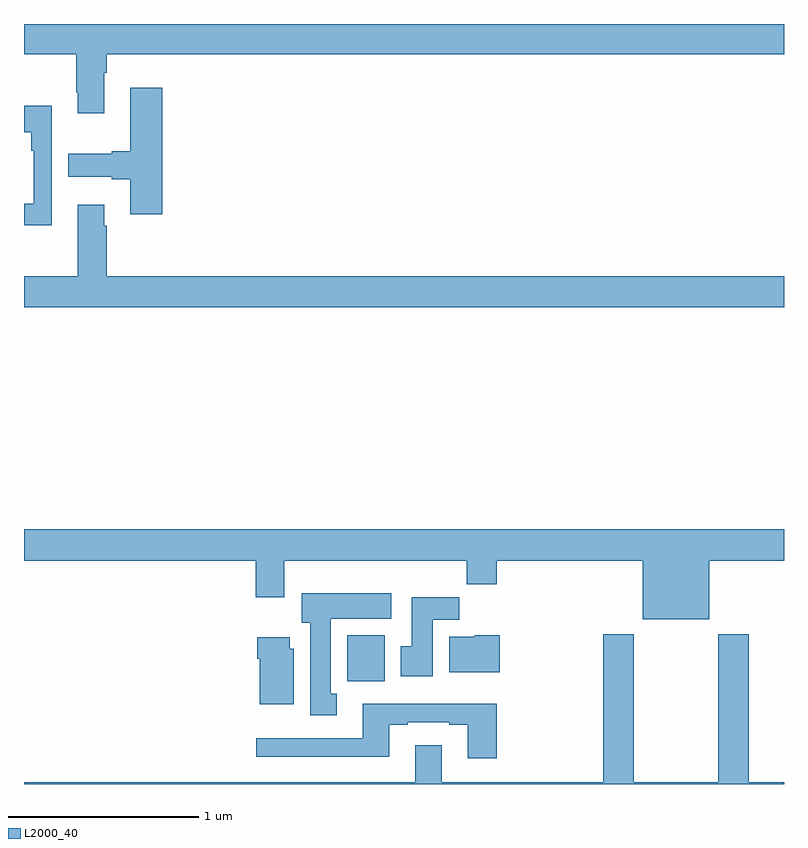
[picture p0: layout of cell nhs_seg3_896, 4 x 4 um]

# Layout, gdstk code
import gdstk
lib = gdstk.Library(unit=1e-6, precision=1e-09)
def R(c, l, rs):  # rectangles x0, y0, x1, y1
    for r in rs: c.add(gdstk.rectangle(r[:2], r[2:], *l))
def P(c, l, *ps):  # polygons
    for p in ps: c.add(gdstk.Polygon(p, *l))
L2000_40 = (2000, 40)

nhs_seg3_896 = lib.new_cell('nhs_seg3_896')
R(nhs_seg3_896, L2000_40, [(158.702,706.94,158.899,707.182)])
P(nhs_seg3_896, L2000_40, [(157.423,710.144),(157.436,710.144),(157.436,710.24),(161,710.24),(161,710.4),(157,710.4),(157,710.24),(157.276,710.24),(157.276,710.041),(157.283,710.041),(157.283,709.929),(157.423,709.929)],
  [(157.727,710.065),(157.559,710.065),(157.559,709.73),(157.463,709.73),(157.463,709.717),(157.233,709.717),(157.233,709.595),(157.463,709.595),(157.463,709.583),(157.559,709.583),(157.559,709.398),(157.727,709.398)],
  [(157.146,709.969),(157,709.969),(157,709.829),(157.038,709.829),(157.038,709.733),(157.05,709.733),(157.05,709.454),(157,709.454),(157,709.341),(157.146,709.341)],
  [(161,709.072),(157.436,709.072),(157.436,709.337),(157.423,709.337),(157.423,709.45),(157.283,709.45),(157.283,709.072),(157,709.072),(157,708.908),(161,708.908)],
  [(160.606,707.576),(161,707.576),(161,707.74),(157,707.74),(157,707.576),(158.219,707.576),(158.219,707.382),(158.371,707.382),(158.371,707.576),(159.331,707.576),(159.331,707.452),(159.488,707.452),(159.488,707.576),(160.256,707.576),(160.256,707.267),(160.606,707.267)],
  [(158.647,706.874),(158.614,706.874),(158.614,707.27),(158.932,707.27),(158.932,707.404),(158.462,707.404),(158.462,707.25),(158.507,707.25),(158.507,706.761),(158.647,706.761)],
  [(159.151,707.264),(159.29,707.264),(159.29,707.383),(159.041,707.383),(159.041,707.124),(158.984,707.124),(158.984,706.968),(159.151,706.968)],
  [(161,706.408),(160.814,706.408),(160.814,707.188),(160.654,707.188),(160.654,706.408),(160.209,706.408),(160.209,707.188),(160.049,707.188),(160.049,706.408),(159.199,706.408),(159.199,706.603),(159.059,706.603),(159.059,706.408),(157,706.408),(157,706.4),(161,706.4)],
  [(159.503,707.182),(159.372,707.182),(159.372,707.176),(159.239,707.176),(159.239,706.988),(159.503,706.988)],
  [(158.419,707.112),(158.398,707.112),(158.398,707.173),(158.228,707.173),(158.228,707.06),(158.24,707.06),(158.24,706.82),(158.419,706.82)],
  [(159.488,706.822),(158.783,706.822),(158.783,706.641),(158.223,706.641),(158.223,706.544),(158.923,706.544),(158.923,706.713),(159.019,706.713),(159.019,706.725),(159.239,706.725),(159.239,706.713),(159.335,706.713),(159.335,706.536),(159.488,706.536)])

lib.write_gds('nhs_seg3_896.gds')
